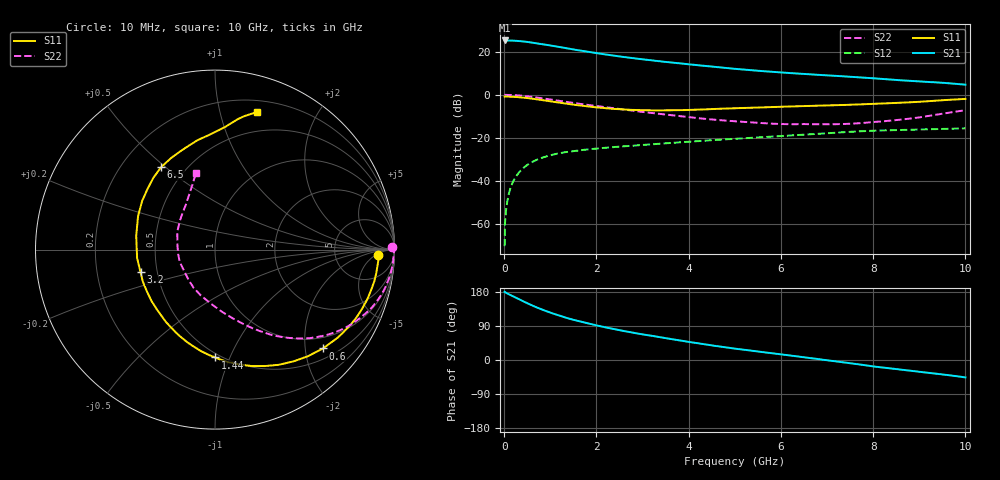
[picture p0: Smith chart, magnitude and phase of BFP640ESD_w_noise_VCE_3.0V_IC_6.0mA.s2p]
! Infineon Technologies  Discrete & RF Semiconductors
! BFP640ESD
! VCE =  3.0 V,  IC =  6.0 mA
! Common Emitter S-Parameters:  Jan 2016
# GHz  S  MA  R  50
!  f  S11  S21  S12  S22
! GHz  MAG  ANG  MAG  ANG  MAG  ANG  MAG  ANG
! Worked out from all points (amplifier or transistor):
!   233 points, 10 MHz to 10 GHz, reference 50 ohm
!   highest |S21| = 25.3 dB at 10 MHz (marker M1)
!   |S21| within 3 dB of that: start of sweep to 1.185 GHz
!   unconditionally stable (mu >= 1): start of sweep to 11.03 MHz; 4.594 GHz to 8.995 GHz
!   at 200 MHz: K = 0.07, MSG = 32.6 dB, |S12| = -40.1 dB
!   at 1.74 GHz: K = 0.52, MSG = 22.9 dB, |S12| = -25.6 dB
!   at 10 GHz: K = 0.84, MSG = 10.2 dB, |S12| = -15.6 dB
!   lowest NFmin = 0.60 dB at 450 MHz
!   S11 on the Smith chart (normalised r, x): 10 MHz: 19, -7; 600 MHz: 0.72, -2.38; 1.44 GHz: 0.47, -0.88; 3.2 GHz: 0.40, -0.13; 6.5 GHz: 0.37, +0.48; 10 GHz: 0.30, +1.31
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0.01  0.9092 -1.9  18.4 179.9  0.0003 18.2  0.9861 1.0
0.02  0.9159 -1.8  18.31 179.0  0.0011 80.0  0.9976 -0.7
0.08  0.9101 -6.0  18.31 174.9  0.0039 85.3  0.9945 -3.6
0.2  0.8987 -14.7  18.21 167.7  0.0099 80.8  0.9846 -8.9
0.3  0.8834 -21.9  17.92 161.4  0.0146 77.0  0.9692 -13.2
0.46  0.8499 -33.0  17.22 152.1  0.0216 71.2  0.9343 -19.8
0.6  0.8154 -42.5  16.48 144.1  0.027 66.4  0.8958 -25.0
0.8  0.7607 -55.0  15.27 134.2  0.0337 60.4  0.8379 -31.9
1  0.7054 -66.9  14.09 125.1  0.0392 55.3  0.7782 -37.9
1.2  0.6547 -77.9  12.95 116.8  0.0438 51.2  0.7223 -43.1
1.44  0.6006 -90.1  11.66 108.2  0.0481 47.3  0.6606 -48.4
1.68  0.5567 -101.4  10.58 100.4  0.0518 44.2  0.608 -53.0
2  0.5106 -115.3  9.326 91.4  0.0561 41.3  0.5487 -58.3
2.4  0.4684 -132.3  8.102 81.1  0.0611 38.4  0.4816 -64.9
3.2  0.4336 -163.0  6.325 63.9  0.0705 34.5  0.3778 -78.2
3.4  0.4339 -170.2  5.986 59.7  0.073 33.7  0.3573 -81.8
4  0.4456 170.2  5.14 47.7  0.0811 31.2  0.3028 -94.1
5.1  0.4906 144.7  3.942 28.6  0.0959 25.4  0.2384 -121.9
6.5  0.5486 123.2  3.06 7.1  0.1182 17.6  0.2083 -160.6
6.8  0.5579 118.5  2.921 2.6  0.1239 15.4  0.2062 -168.3
8.4  0.6398 92.9  2.252 -22.6  0.1503 0.2  0.2517 141.3
10  0.8027 72.9  1.721 -46.0  0.1658 -14.0  0.4384 104.1
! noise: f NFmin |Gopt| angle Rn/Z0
0.45  0.6  0.35  10  0.12
0.9  0.62  0.33  22  0.12
1.9  0.67  0.26  44  0.12
2.4  0.71  0.22  60  0.11
5.5  1.06  0.33  -140  0.13
10  2  0.62  -82  0.81
